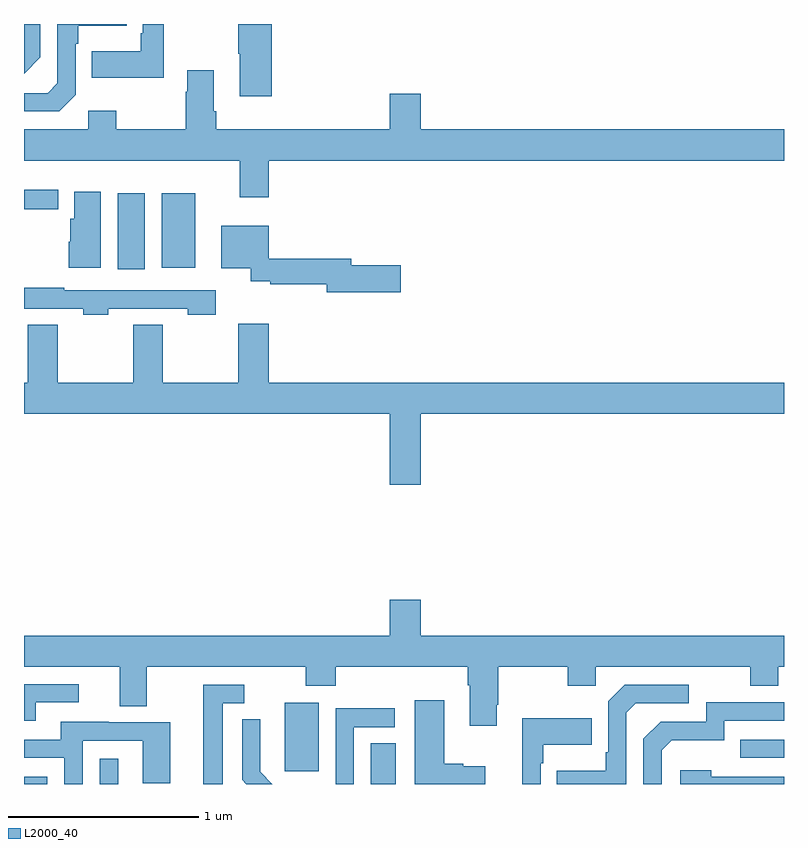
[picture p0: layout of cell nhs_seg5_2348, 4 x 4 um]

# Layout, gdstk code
import gdstk
lib = gdstk.Library(unit=1e-6, precision=1e-09)
def R(c, l, rs):  # rectangles x0, y0, x1, y1
    for r in rs: c.add(gdstk.rectangle(r[:2], r[2:], *l))
def P(c, l, *ps):  # polygons
    for p in ps: c.add(gdstk.Polygon(p, *l))
L2000_40 = (2000, 40)

nhs_seg5_2348 = lib.new_cell('nhs_seg5_2348')
R(nhs_seg5_2348, L2000_40, [(247,866.799,247.122,866.838), (247.398,866.799,247.495,866.932), (248.825,866.799,248.956,867.014), (248.372,866.865,248.551,867.226), (250.771,866.937,251,867.033), (247.493,869.508,247.636,869.908), (247.724,869.516,247.9,869.908), (247,869.824,247.18,869.926)])
P(nhs_seg5_2348, L2000_40, [(247.086,870.624),(247.086,870.799),(247,870.799),(247,870.538)],
  [(247.272,870.426),(247.272,870.695),(247.285,870.695),(247.285,870.791),(247.541,870.791),(247.541,870.799),(247.176,870.799),(247.176,870.486),(247.125,870.435),(247,870.435),(247,870.339),(247.185,870.339)],
  [(248.303,870.799),(248.128,870.799),(248.128,870.643),(248.135,870.643),(248.135,870.42),(248.303,870.42)],
  [(247.735,870.799),(247.626,870.799),(247.626,870.751),(247.614,870.751),(247.614,870.655),(247.357,870.655),(247.357,870.515),(247.735,870.515)],
  [(248.288,870.08),(251,870.08),(251,870.244),(249.088,870.244),(249.088,870.433),(248.924,870.433),(248.924,870.244),(248.012,870.244),(248.012,870.34),(247.999,870.34),(247.999,870.556),(247.859,870.556),(247.859,870.443),(247.852,870.443),(247.852,870.244),(247.485,870.244),(247.485,870.343),(247.338,870.343),(247.338,870.244),(247,870.244),(247,870.08),(248.135,870.08),(248.135,869.886),(248.288,869.886)],
  [(247.405,869.917),(247.265,869.917),(247.265,869.775),(247.244,869.775),(247.244,869.652),(247.235,869.652),(247.235,869.516),(247.405,869.516)],
  [(248.983,869.528),(248.722,869.528),(248.722,869.564),(248.289,869.564),(248.289,869.737),(248.039,869.737),(248.039,869.513),(248.193,869.513),(248.193,869.446),(248.296,869.446),(248.296,869.428),(248.594,869.428),(248.594,869.386),(248.983,869.386)],
  [(247.443,869.301),(247.863,869.301),(247.863,869.269),(248.008,869.269),(248.008,869.397),(247.211,869.397),(247.211,869.41),(247,869.41),(247,869.301),(247.311,869.301),(247.311,869.269),(247.443,869.269)],
  [(249.088,868.748),(251,868.748),(251,868.912),(248.288,868.912),(248.288,869.221),(248.128,869.221),(248.128,868.912),(247.73,868.912),(247.73,869.216),(247.576,869.216),(247.576,868.912),(247.178,868.912),(247.178,869.216),(247.019,869.216),(247.019,868.912),(247,868.912),(247,868.748),(248.924,868.748),(248.924,868.374),(249.088,868.374)],
  [(249.487,867.217),(249.495,867.217),(249.495,867.416),(249.862,867.416),(249.862,867.317),(250.008,867.317),(250.008,867.416),(250.822,867.416),(250.822,867.317),(250.969,867.317),(250.969,867.416),(251,867.416),(251,867.58),(249.088,867.58),(249.088,867.769),(248.924,867.769),(248.924,867.58),(247,867.58),(247,867.416),(247.505,867.416),(247.505,867.208),(247.645,867.208),(247.645,867.416),(248.482,867.416),(248.482,867.317),(248.642,867.317),(248.642,867.416),(249.335,867.416),(249.335,867.32),(249.347,867.32),(249.347,867.105),(249.487,867.105)],
  [(247.063,867.228),(247.288,867.228),(247.288,867.324),(247,867.324),(247,867.132),(247.063,867.132)],
  [(250.17,867.174),(250.221,867.225),(250.498,867.225),(250.498,867.321),(250.161,867.321),(250.074,867.234),(250.074,866.965),(250.062,866.965),(250.062,866.869),(249.805,866.869),(249.805,866.799),(250.17,866.799)],
  [(248.047,867.225),(248.158,867.225),(248.158,867.321),(247.943,867.321),(247.943,866.799),(248.047,866.799)],
  [(249.427,866.893),(249.311,866.893),(249.311,866.906),(249.211,866.906),(249.211,867.241),(249.056,867.241),(249.056,866.799),(249.427,866.799)],
  [(250.356,866.976),(250.409,867.029),(250.686,867.029),(250.686,867.132),(251,867.132),(251,867.228),(250.59,867.228),(250.59,867.126),(250.35,867.126),(250.26,867.036),(250.26,866.799),(250.356,866.799)],
  [(248.736,867.099),(248.95,867.099),(248.95,867.198),(248.64,867.198),(248.64,866.799),(248.736,866.799)],
  [(249.72,866.909),(249.733,866.909),(249.733,867.005),(249.989,867.005),(249.989,867.145),(249.623,867.145),(249.623,866.799),(249.72,866.799)],
  [(248.243,866.864),(248.243,866.986),(248.244,866.986),(248.244,867.14),(248.148,867.14),(248.148,866.822),(248.171,866.799),(248.307,866.799)],
  [(247.308,867.027),(247.626,867.027),(247.626,866.803),(247.771,866.803),(247.771,867.123),(247.447,867.123),(247.447,867.127),(247.193,867.127),(247.193,867.033),(247,867.033),(247,866.937),(247.212,866.937),(247.212,866.799),(247.308,866.799)],
  [(251,866.838),(250.616,866.838),(250.616,866.872),(250.455,866.872),(250.455,866.799),(251,866.799)])

lib.write_gds('nhs_seg5_2348.gds')
